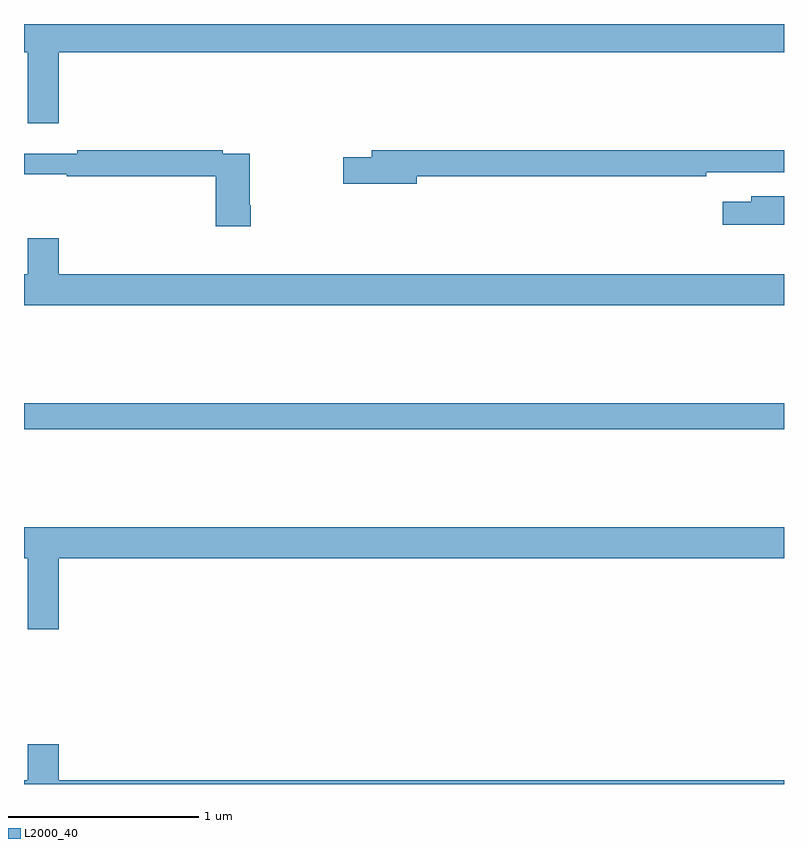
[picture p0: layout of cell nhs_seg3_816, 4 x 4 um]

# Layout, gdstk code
import gdstk
lib = gdstk.Library(unit=1e-6, precision=1e-09)
def R(c, l, rs):  # rectangles x0, y0, x1, y1
    for r in rs: c.add(gdstk.rectangle(r[:2], r[2:], *l))
def P(c, l, *ps):  # polygons
    for p in ps: c.add(gdstk.Polygon(p, *l))
L2000_40 = (2000, 40)

nhs_seg3_816 = lib.new_cell('nhs_seg3_816')
R(nhs_seg3_816, L2000_40, [(153,696.268,157,696.404)])
P(nhs_seg3_816, L2000_40, [(153.184,698.252),(157,698.252),(157,698.4),(153,698.4),(153,698.252),(153.02,698.252),(153.02,697.878),(153.184,697.878)],
  [(154.193,697.447),(154.188,697.447),(154.188,697.716),(154.046,697.716),(154.046,697.736),(153.28,697.736),(153.28,697.717),(153,697.717),(153,697.608),(153.226,697.608),(153.226,697.6),(154.01,697.6),(154.01,697.335),(154.193,697.335)],
  [(155.068,697.6),(156.59,697.6),(156.59,697.62),(157,697.62),(157,697.736),(154.829,697.736),(154.829,697.7),(154.68,697.7),(154.68,697.558),(155.068,697.558)],
  [(157,697.494),(156.827,697.494),(156.827,697.465),(156.678,697.465),(156.678,697.343),(157,697.343)],
  [(157,697.084),(153.184,697.084),(153.184,697.273),(153.02,697.273),(153.02,697.084),(153,697.084),(153,696.92),(157,696.92)],
  [(153.184,695.588),(157,695.588),(157,695.752),(153,695.752),(153,695.588),(153.02,695.588),(153.02,695.214),(153.184,695.214)],
  [(157,694.42),(153.184,694.42),(153.184,694.609),(153.02,694.609),(153.02,694.42),(153,694.42),(153,694.4),(157,694.4)])

lib.write_gds('nhs_seg3_816.gds')
